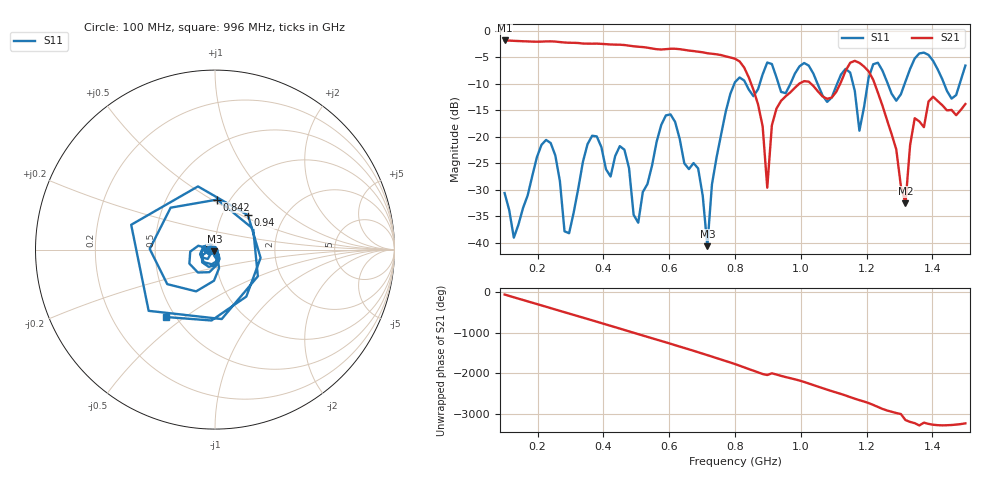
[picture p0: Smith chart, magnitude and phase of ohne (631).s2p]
! NanoVNA-App
! Date: 2025-09-25 14:25:42
! Start: 100MHz Stop: 1,5GHz Points: 101
! S-Parameter data: F S11 S21 S12 S22
# Hz S RI R 50
!  Frequency  S11_Real  S11_Imag  S21_Real  S21_Imag  S12_Real  S12_Imag  S22_Real  S22_Imag
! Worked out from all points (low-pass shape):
!   101 points, 100 MHz to 1.5 GHz, reference 50 ohm
!   highest |S21| = -1.79 dB at 100 MHz (marker M1); lowest = -32.6 dB at 1.318 GHz (marker M2)
!   |S21| within 3 dB of the highest: start of sweep to 771.4 MHz
!   lowest |S11| = -40.7 dB at 716 MHz (marker M3), VSWR 1.02, Z = 49.7 - j0.877 ohm
!   |S11| at or under -10 dB: start of sweep to 797.9 MHz; 833.1 MHz to 875.1 MHz (41.92 MHz wide, 4.91 % of centre); 1.051 GHz to 1.11 GHz (59.28 MHz wide, 5.49 % of centre) (the widest 3 of 7)
!   S12 and S22 are empty: the file has one direction only
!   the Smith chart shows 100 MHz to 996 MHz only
!   S11 on the Smith chart (normalised r, x): 100 MHz: 0.94, -0.01; 842 MHz: 0.88, +0.53; 940 MHz: 1.32, +0.55; 996 MHz: 0.45, -0.43
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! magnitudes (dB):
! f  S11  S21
! 100 MHz  -30.6  -1.8
! 128 MHz  -39.1  -1.9
! 226 MHz  -20.6  -2.0
! 296 MHz  -38.2  -2.2
! 338 MHz  -24.7  -2.4
! 464 MHz  -22.4  -2.7
! 506 MHz  -36.2  -3.0
! 576 MHz  -17.7  -3.5
! 688 MHz  -26.0  -3.9
! 716 MHz  -40.7  -4.2
! 800 MHz  -9.7  -5.2
! 842 MHz  -11.1  -8.8
! 898 MHz  -6.0  -29.6
! 940 MHz  -11.5  -13.2
! 996 MHz  -6.7  -9.9
! 1.038 GHz  -8.0  -10.4
! 1.178 GHz  -18.8  -6.0
! 1.22 GHz  -6.3  -9.2
! 1.276 GHz  -11.9  -19.5
! 1.318 GHz  -9.6  -32.6
! 1.346 GHz  -5.2  -16.5
! 1.5 GHz  -6.5  -13.8
